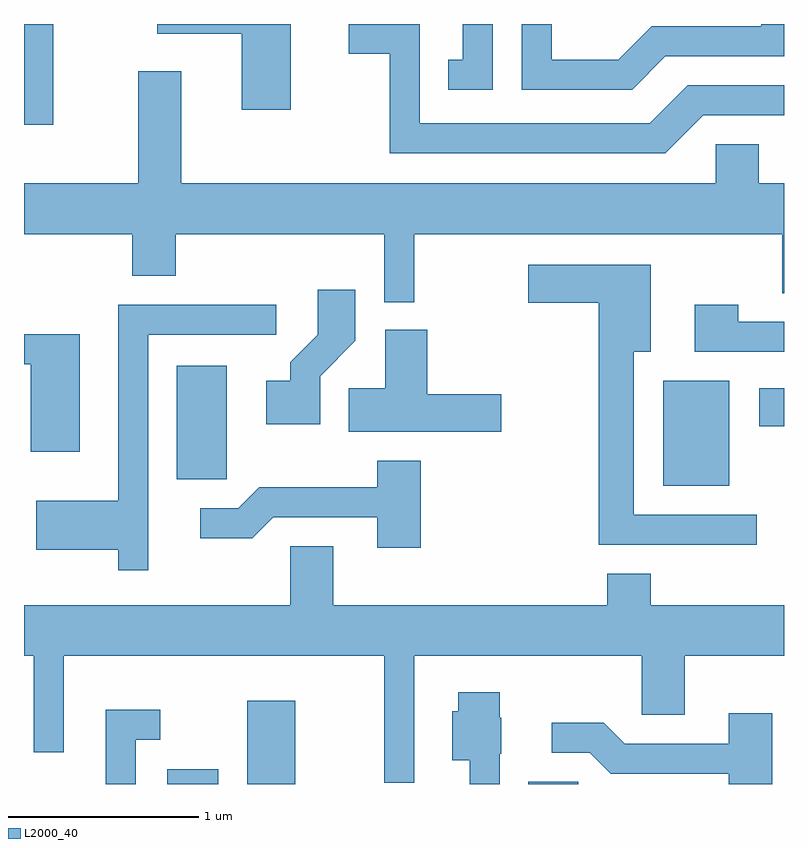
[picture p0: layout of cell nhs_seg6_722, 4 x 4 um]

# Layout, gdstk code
import gdstk
lib = gdstk.Library(unit=1e-6, precision=1e-09)
def R(c, l, rs):  # rectangles x0, y0, x1, y1
    for r in rs: c.add(gdstk.rectangle(r[:2], r[2:], *l))
def P(c, l, *ps):  # polygons
    for p in ps: c.add(gdstk.Polygon(p, *l))
L2000_40 = (2000, 40)

nhs_seg6_722 = lib.new_cell('nhs_seg6_722')
R(nhs_seg6_722, L2000_40, [(206.366,1638.162,206.634,1638.239), (206.786,1638.162,207.039,1638.599), (208.266,1638.162,208.529,1638.174), (208.976,1639.731,209.324,1640.284), (206.416,1639.766,206.679,1640.364), (209.481,1640.046,209.611,1640.244), (205.611,1641.633,205.764,1642.162)])
P(nhs_seg6_722, L2000_40, [(207.014,1642.162),(206.313,1642.162),(206.313,1642.111),(206.756,1642.111),(206.756,1641.711),(207.014,1641.711)],
  [(209.187,1641.681),(209.611,1641.681),(209.611,1641.839),(209.104,1641.839),(208.904,1641.639),(207.694,1641.639),(207.694,1642.162),(207.321,1642.162),(207.321,1642.006),(207.536,1642.006),(207.536,1641.481),(208.987,1641.481)],
  [(208.079,1642.162),(207.921,1642.162),(207.921,1641.974),(207.843,1641.974),(207.843,1641.816),(208.079,1641.816)],
  [(208.987,1641.991),(209.611,1641.991),(209.611,1642.162),(209.491,1642.162),(209.491,1642.149),(208.914,1642.149),(208.739,1641.974),(208.389,1641.974),(208.389,1642.162),(208.231,1642.162),(208.231,1641.816),(208.812,1641.816)],
  [(207.664,1641.056),(209.601,1641.056),(209.601,1640.746),(209.611,1640.746),(209.611,1641.324),(209.479,1641.324),(209.479,1641.529),(209.251,1641.529),(209.251,1641.324),(206.439,1641.324),(206.439,1641.914),(206.211,1641.914),(206.211,1641.324),(205.611,1641.324),(205.611,1641.056),(206.181,1641.056),(206.181,1640.836),(206.409,1640.836),(206.409,1641.056),(207.506,1641.056),(207.506,1640.698),(207.664,1640.698)],
  [(209.468,1639.579),(208.819,1639.579),(208.819,1640.436),(208.909,1640.436),(208.909,1640.894),(208.266,1640.894),(208.266,1640.696),(208.636,1640.696),(208.636,1639.421),(209.468,1639.421)],
  [(207.169,1640.309),(207.354,1640.494),(207.354,1640.764),(207.156,1640.764),(207.156,1640.527),(207.011,1640.382),(207.011,1640.284),(206.886,1640.284),(206.886,1640.056),(207.169,1640.056)],
  [(209.611,1640.594),(209.369,1640.594),(209.369,1640.684),(209.141,1640.684),(209.141,1640.436),(209.611,1640.436)],
  [(206.264,1640.526),(206.938,1640.526),(206.938,1640.684),(206.106,1640.684),(206.106,1639.654),(205.676,1639.654),(205.676,1639.396),(206.106,1639.396),(206.106,1639.288),(206.264,1639.288)],
  [(208.124,1640.214),(207.734,1640.214),(207.734,1640.554),(207.511,1640.554),(207.511,1640.244),(207.321,1640.244),(207.321,1640.016),(208.124,1640.016)],
  [(205.904,1640.529),(205.611,1640.529),(205.611,1640.371),(205.646,1640.371),(205.646,1639.911),(205.904,1639.911)],
  [(207.699,1639.864),(207.471,1639.864),(207.471,1639.724),(206.849,1639.724),(206.739,1639.614),(206.538,1639.614),(206.538,1639.456),(206.812,1639.456),(206.922,1639.566),(207.471,1639.566),(207.471,1639.406),(207.699,1639.406)],
  [(207.664,1638.836),(208.861,1638.836),(208.861,1638.526),(209.089,1638.526),(209.089,1638.836),(209.611,1638.836),(209.611,1639.104),(208.909,1639.104),(208.909,1639.269),(208.681,1639.269),(208.681,1639.104),(207.239,1639.104),(207.239,1639.414),(207.011,1639.414),(207.011,1639.104),(205.611,1639.104),(205.611,1638.836),(205.661,1638.836),(205.661,1638.328),(205.819,1638.328),(205.819,1638.836),(207.506,1638.836),(207.506,1638.168),(207.664,1638.168)],
  [(208.114,1638.32),(208.124,1638.32),(208.124,1638.51),(208.114,1638.51),(208.114,1638.644),(207.896,1638.644),(207.896,1638.544),(207.866,1638.544),(207.866,1638.286),(207.956,1638.286),(207.956,1638.162),(208.114,1638.162)],
  [(206.199,1638.396),(206.328,1638.396),(206.328,1638.554),(206.041,1638.554),(206.041,1638.162),(206.199,1638.162)],
  [(209.549,1638.534),(209.321,1638.534),(209.321,1638.374),(208.772,1638.374),(208.662,1638.484),(208.388,1638.484),(208.388,1638.326),(208.589,1638.326),(208.699,1638.216),(209.321,1638.216),(209.321,1638.162),(209.549,1638.162)])

lib.write_gds('nhs_seg6_722.gds')
